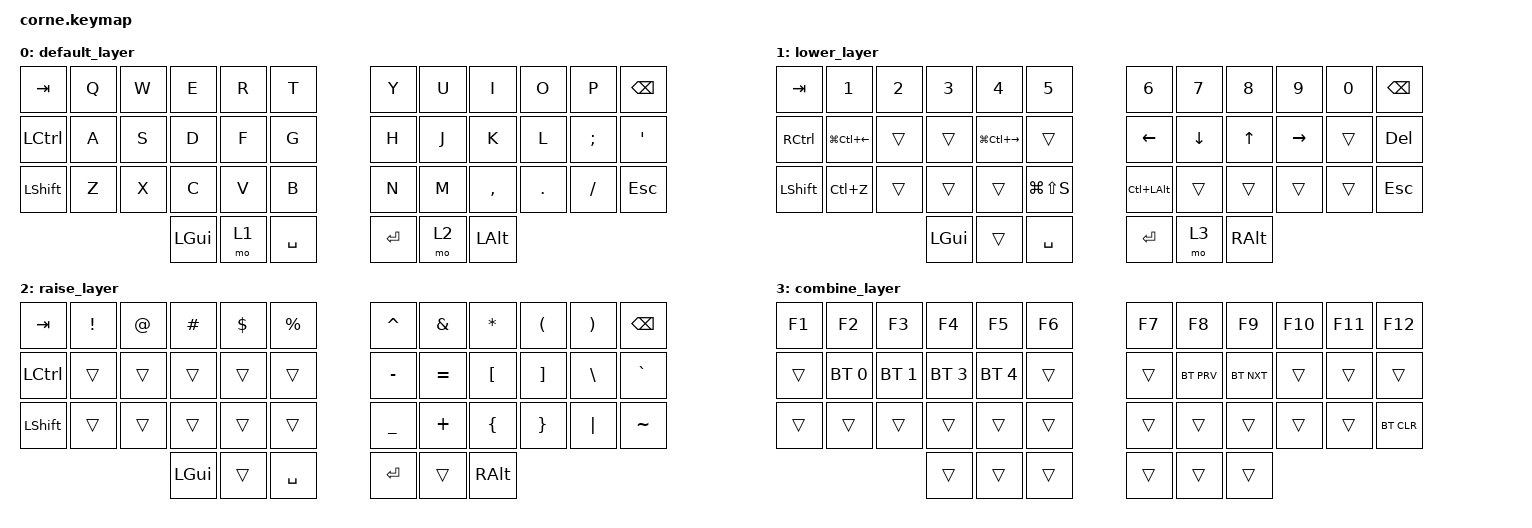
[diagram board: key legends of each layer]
/*
 * Copyright (c) 2020 The ZMK Contributors
 *
 * SPDX-License-Identifier: MIT
 */

#include <behaviors.dtsi>
#include <dt-bindings/zmk/bt.h>
#include <dt-bindings/zmk/keys.h>

/ {
    keymap {
        compatible = "zmk,keymap";

        default_layer {
            // -----------------------------------------------------------------------------------------
            // |  TAB |  Q  |  W  |  E  |  R  |  T  |   |  Y  |  U   |  I  |  O  |  P  | BSPC |
            // | CTRL |  A  |  S  |  D  |  F  |  G  |   |  H  |  J   |  K  |  L  |  ;  |  '   |
            // | SHFT |  Z  |  X  |  C  |  V  |  B  |   |  N  |  M   |  ,  |  .  |  /  | ESC  |
            //                    | GUI | LWR | SPC |   | ENT | RSE  | ALT |

            bindings = <
&kp TAB    &kp Q  &kp W  &kp E     &kp R  &kp T        &kp Y    &kp U  &kp I      &kp O    &kp P     &kp BSPC
&kp LCTRL  &kp A  &kp S  &kp D     &kp F  &kp G        &kp H    &kp J  &kp K      &kp L    &kp SEMI  &kp SQT
&kp LSHFT  &kp Z  &kp X  &kp C     &kp V  &kp B        &kp N    &kp M  &kp COMMA  &kp DOT  &kp FSLH  &kp ESCAPE
                         &kp LGUI  &mo 1  &kp SPACE    &kp RET  &mo 2  &kp LALT
            >;
        };

        lower_layer {
            // -----------------------------------------------------------------------------------------
            // |  TAB |  1  |  2  |  3  |  4  |  5  |   |  6  |  7  |  8  |  9  |  0  | BSPC |
            // | BTCLR| BT1 | BT2 | BT3 | BT4 | BT5 |   | LFT | DWN |  UP | RGT |     |      |
            // | SHFT |     |     |     |     |     |   |     |     |     |     |     |      |
            //                    | GUI |     | SPC |   | ENT |     | ALT |

            bindings = <
&kp TAB            &kp N1                  &kp N2  &kp N3    &kp N4                   &kp N5           &kp N6            &kp N7    &kp N8    &kp N9     &kp N0  &kp BSPC
&kp RIGHT_CONTROL  &kp LG(LC(LEFT_ARROW))  &trans  &trans    &kp LG(LC(RIGHT_ARROW))  &trans           &kp LEFT          &kp DOWN  &kp UP    &kp RIGHT  &trans  &kp DEL
&kp LSHFT          &kp LC(Z)               &trans  &trans    &trans                   &kp LG(LS(S))    &kp LC(LEFT_ALT)  &trans    &trans    &trans     &trans  &kp ESC
                                                   &kp LGUI  &trans                   &kp SPACE        &kp RET           &mo 3     &kp RALT
            >;
        };

        raise_layer {
            // -----------------------------------------------------------------------------------------
            // |  TAB |  !  |  @  |  #  |  $  |  %  |   |  ^  |  &  |  *  |  (  |  )  | BSPC |
            // | CTRL |     |     |     |     |     |   |  -  |  =  |  [  |  ]  |  \  |  `   |
            // | SHFT |     |     |     |     |     |   |  _  |  +  |  {  |  }  | "|" |  ~   |
            //                    | GUI |     | SPC |   | ENT |     | ALT |

            bindings = <
&kp TAB    &kp EXCL  &kp AT  &kp HASH  &kp DLLR  &kp PRCNT    &kp CARET  &kp AMPS   &kp ASTRK  &kp LPAR  &kp RPAR  &kp BSPC
&kp LCTRL  &trans    &trans  &trans    &trans    &trans       &kp MINUS  &kp EQUAL  &kp LBKT   &kp RBKT  &kp BSLH  &kp GRAVE
&kp LSHFT  &trans    &trans  &trans    &trans    &trans       &kp UNDER  &kp PLUS   &kp LBRC   &kp RBRC  &kp PIPE  &kp TILDE
                             &kp LGUI  &trans    &kp SPACE    &kp RET    &trans     &kp RALT
            >;
        };

        combine_layer {
            bindings = <
&kp F1  &kp F2        &kp F3        &kp F4        &kp F5        &kp F6    &kp F7  &kp F8      &kp F9      &kp F10  &kp F11  &kp F12
&trans  &bt BT_SEL 0  &bt BT_SEL 1  &bt BT_SEL 3  &bt BT_SEL 4  &trans    &trans  &bt BT_PRV  &bt BT_NXT  &trans   &trans   &trans
&trans  &trans        &trans        &trans        &trans        &trans    &trans  &trans      &trans      &trans   &trans   &bt BT_CLR
                                    &trans        &trans        &trans    &trans  &trans      &trans
            >;
        };
    };
};
